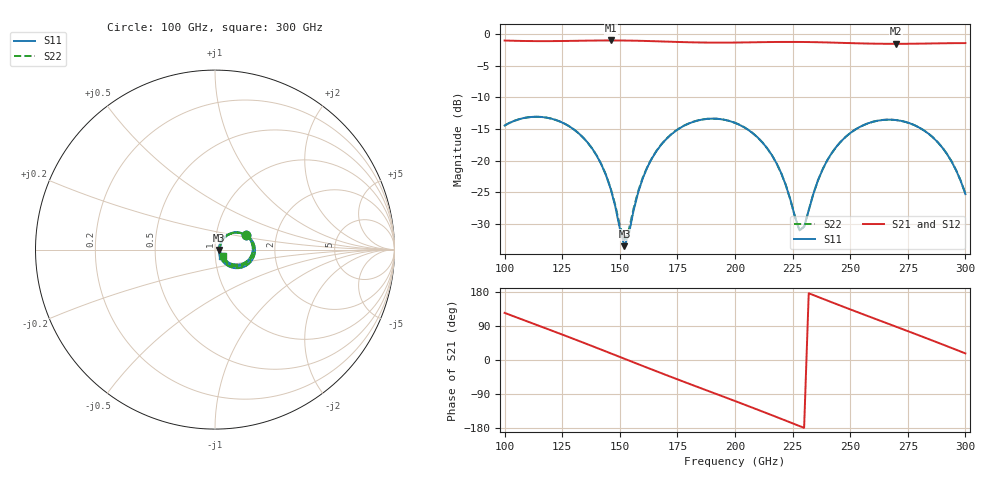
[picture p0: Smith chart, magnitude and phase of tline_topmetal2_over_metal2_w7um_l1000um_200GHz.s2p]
#  GHZ S DB R 50
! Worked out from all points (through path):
!   101 points, 100 GHz to 300 GHz, reference 50 ohm
!   highest |S21| = -0.97 dB at 146 GHz (marker M1); lowest = -1.5 dB at 270 GHz (marker M2)
!   group delay of S21, straight-line fit = 6.49 ps
!   lowest |S11| = -33.6 dB at 152 GHz (marker M3), VSWR 1.04, Z = 52.1 - j0.229 ohm
!   |S11| at or under -10 dB: start of sweep to end of sweep
!   |S22| runs from -32.6 to -13.1 dB; largest |S21 - S12| = 1e-13
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100  -14.44 26.2  -0.98 124.3  -0.98 124.3  -14.44 26.2
118  -13.18 -10.6  -1.07 83.2  -1.07 83.2  -13.18 -10.4
134  -16.32 -42.6  -1.00 46.2  -1.00 46.2  -16.31 -42.0
140  -19.23 -52.8  -0.98 32.0  -0.98 32.0  -19.21 -51.8
146  -24.43 -56.9  -0.97 17.7  -0.97 17.7  -24.34 -54.9
152  -33.56 -6.0  -0.98 3.3  -0.98 3.3  -32.59 -5.0
160  -22.77 54.4  -1.03 -15.8  -1.03 -15.8  -22.66 52.4
168  -17.47 44.5  -1.12 -34.7  -1.12 -34.7  -17.43 43.3
184  -13.63 13.6  -1.28 -71.7  -1.28 -71.7  -13.62 12.9
200  -14.02 -18.4  -1.30 -108.3  -1.30 -108.3  -14.01 -18.9
216  -19.13 -46.4  -1.21 -145.7  -1.21 -145.7  -19.13 -46.8
222  -23.83 -48.8  -1.20 -159.9  -1.20 -159.9  -23.82 -49.3
228  -31.05 -9.1  -1.20 -174.3  -1.20 -174.3  -31.05 -9.6
230  -30.47 21.9  -1.21 -179.1  -1.21 -179.1  -30.47 21.4
234  -25.28 49.0  -1.23 171.4  -1.23 171.4  -25.28 48.6
240  -19.98 50.1  -1.28 157.1  -1.28 157.1  -19.98 49.7
248  -16.25 38.4  -1.37 138.3  -1.37 138.3  -16.25 38.0
258  -14.06 19.7  -1.46 115.1  -1.46 115.1  -14.06 19.4
268  -13.52 0.2  -1.50 92.2  -1.50 92.2  -13.52 -0.1
270  -13.58 -3.7  -1.50 87.7  -1.50 87.7  -13.58 -4.0
288  -17.09 -36.9  -1.43 45.9  -1.43 45.9  -17.08 -36.9
300  -25.30 -40.7  -1.38 17.4  -1.38 17.4  -25.21 -40.1
